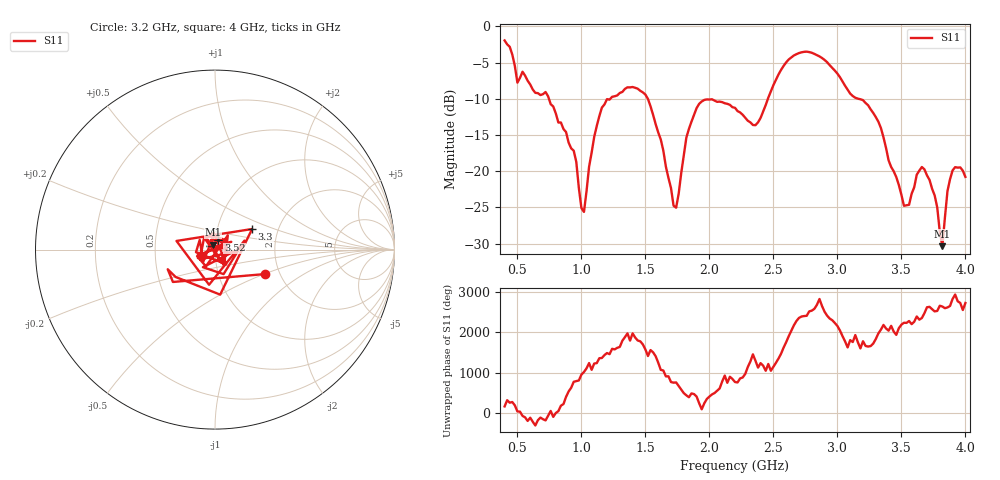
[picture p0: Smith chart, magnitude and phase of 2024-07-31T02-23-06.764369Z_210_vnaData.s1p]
!Created with skrf (http://scikit-rf.org).
# Hz S RI R 50.0
!freq ReS11 ImS11
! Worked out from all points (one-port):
!   181 points, 400 MHz to 4 GHz, reference 50 ohm
!   lowest |S11| = -30.3 dB at 3.82 GHz (marker M1), VSWR 1.06, Z = 48.8 + j2.75 ohm
!   |S11| at or under -10 dB: 746.2 MHz to 1.226 GHz (479.7 MHz wide, 48.6 % of centre); 1.519 GHz to 2.457 GHz (938.2 MHz wide, 47.2 % of centre); 3.164 GHz to end of sweep
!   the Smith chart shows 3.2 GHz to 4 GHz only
!   S11 on the Smith chart (normalised r, x): 3.2 GHz: 1.67, -0.50; 3.3 GHz: 1.47, +0.36; 3.52 GHz: 1.03, +0.11; 4 GHz: 0.84, -0.05
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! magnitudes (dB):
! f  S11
! 400 MHz  -2.0
! 500 MHz  -7.8
! 720 MHz  -9.1
! 860 MHz  -14.2
! 940 MHz  -17.2
! 1.02 GHz  -25.6
! 1.16 GHz  -11.2
! 1.3 GHz  -9.2
! 1.5 GHz  -9.4
! 1.72 GHz  -24.8
! 1.76 GHz  -23.1
! 1.82 GHz  -15.4
! 1.92 GHz  -10.7
! 2.2 GHz  -11.2
! 2.36 GHz  -13.6
! 2.66 GHz  -4.0
! 2.88 GHz  -4.4
! 3.1 GHz  -9.3
! 3.2 GHz  -10.2
! 3.3 GHz  -12.5
! 3.52 GHz  -24.8
! 3.56 GHz  -24.6
! 3.68 GHz  -19.7
! 3.76 GHz  -23.3
! 3.82 GHz  -30.3
! 3.86 GHz  -22.7
! 3.9 GHz  -19.9
! 4 GHz  -20.8
